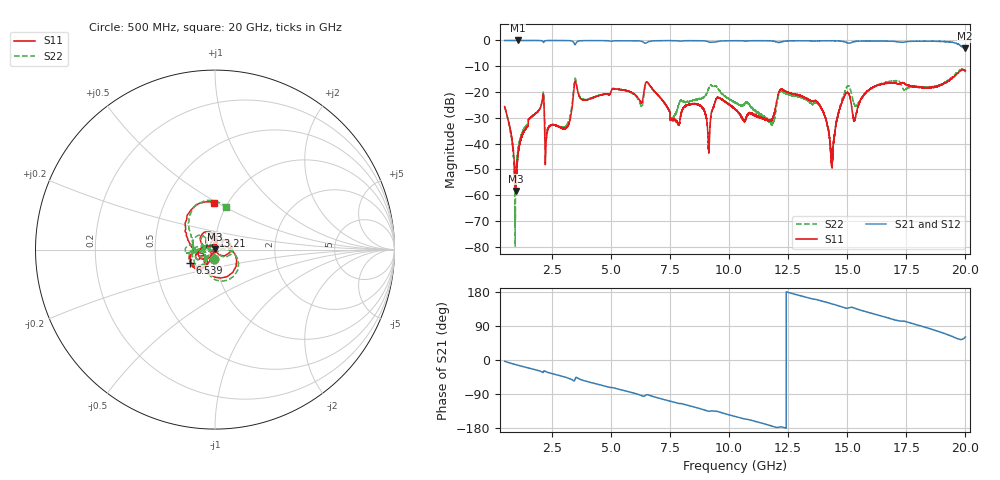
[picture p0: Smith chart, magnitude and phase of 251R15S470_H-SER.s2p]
!{251R15S470}
!Johanson Technology Inc.
!www.johansontechnology.com
!Test Board Conditions:
!Substrate Type  RO4350B
!Substrate Thickness  20 mil
!Substrate Dk  3.66
!TL Type: GCPW
!TL Trace Width  34 mil
!TL Gap  10 mil
!Electrode orientation  Horizontal
!DUT TOPOLOGY	SERIES
!Mounting Pad LxW  26x52 mil
! Created Thu Mar 12 17:14:30 2020
# mhz S ma R 50
! 2 Port Network Data from SP1.SP block
! freq  magS11  angS11  magS21  angS21  magS12  angS12  magS22  angS22
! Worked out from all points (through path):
!   19501 points, 500 MHz to 20 GHz, reference 50 ohm
!   highest |S21| = 0.00 dB at 1.055 GHz (marker M1); lowest = -3.1 dB at 19.99 GHz (marker M2)
!   group delay of S21, straight-line fit = 42 ps
!   lowest |S11| = -58.4 dB at 977 MHz (marker M3), VSWR 1.00, Z = 49.9 + j0.0616 ohm
!   |S11| at or under -10 dB: start of sweep to end of sweep
!   |S22| runs from -79.8 to -11.1 dB; largest |S21 - S12| = 0.018
!   S11 on the Smith chart (normalised r, x): 500 MHz: 0.99, -0.10; 6.539 GHz: 0.75, -0.11; 13.21 GHz: 0.97, +0.15; 20 GHz: 0.86, +0.48
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500  0.0521 -94.4  0.9967 -3.2  0.998 -3.2  0.05137 -94.4
977  0.001196 149.0  0.9991 -12.3  0.999 -12.4  0.001915 78.7
1055  0.005678 89.4  0.9997 -13.7  0.9979 -13.7  0.006978 71.9
2070  0.05966 58.3  0.9894 -31.1  0.9898 -31.1  0.06145 45.5
2290  0.01534 75.1  0.9953 -32.0  0.9962 -31.9  0.01769 23.9
3750  0.07247 -143.1  0.989 -52.2  0.9897 -52.3  0.07549 -130.5
6539  0.1562 -152.2  0.9215 -91.7  0.9234 -91.7  0.1519 -162.0
7000  0.086 -179.7  0.9875 -100.3  0.9884 -100.2  0.08519 167.6
7598  0.0293 132.6  0.9915 -110.1  0.9933 -110.1  0.03132 -162.7
8666  0.05717 73.7  0.9897 -126.6  0.9886 -126.5  0.07143 -142.4
9124  0.009516 -14.4  0.9423 -135.1  0.9424 -135.1  0.113 -130.1
9508  0.07869 123.4  0.9555 -135.8  0.9554 -135.8  0.1208 -174.1
10250  0.04683 81.4  0.9886 -148.9  0.9863 -148.9  0.0629 176.6
11785  0.02775 131.4  0.9801 -173.8  0.9803 -173.9  0.02352 139.1
13208  0.07709 95.9  0.9856 166.4  0.9857 166.5  0.07382 59.1
13500  0.06587 100.3  0.9762 161.6  0.9769 161.7  0.05813 61.3
14351  0.003562 159.7  0.9849 148.2  0.9827 148.2  0.006271 114.7
14990  0.09739 -158.4  0.9027 136.5  0.9028 136.6  0.1264 166.4
15313  0.02805 -144.6  0.9529 136.8  0.9515 136.9  0.05605 144.3
16750  0.1497 -145.7  0.971 110.8  0.9665 110.6  0.1582 -173.6
19994  0.2609 92.4  0.7006 60.5  0.7044 60.6  0.2458 76.7
20000  0.2594 91.5  0.7025 60.7  0.7031 60.8  0.2429 75.4
